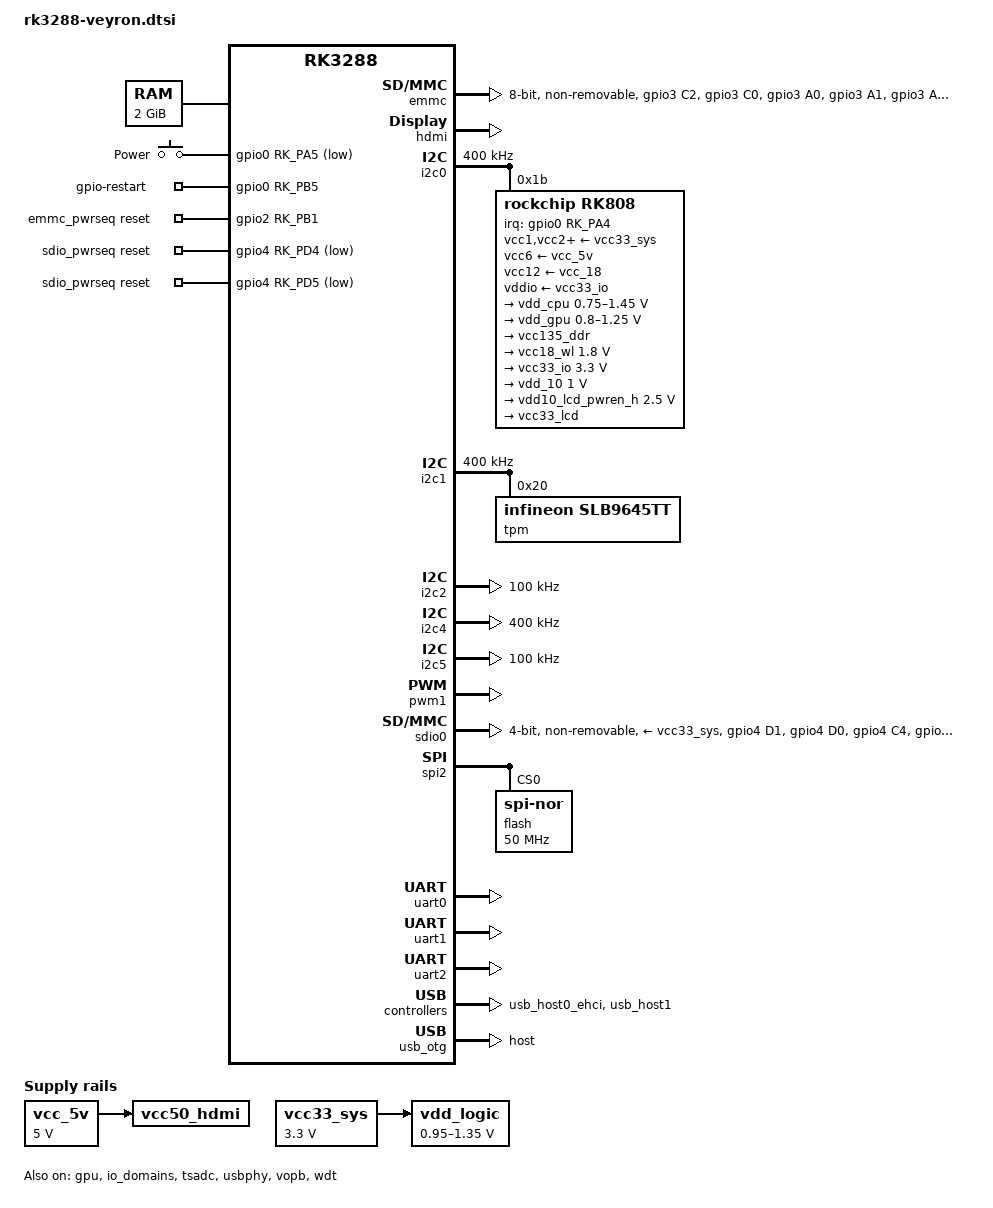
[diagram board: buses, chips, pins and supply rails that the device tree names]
// SPDX-License-Identifier: (GPL-2.0+ OR MIT)
/*
 * Google Veyron (and derivatives) board device tree source
 *
 * Copyright 2015 Google, Inc
 */

#include <dt-bindings/clock/rockchip,rk808.h>
#include <dt-bindings/input/input.h>
#include "rk3288.dtsi"

/ {
	chosen {
		stdout-path = "serial2:115200n8";
	};

	/*
	 * The default coreboot on veyron devices ignores memory@0 nodes
	 * and would instead create another memory node.
	 */
	memory {
		device_type = "memory";
		reg = <0x0 0x0 0x0 0x80000000>;
	};

	gpio_keys: gpio-keys {
		compatible = "gpio-keys";

		pinctrl-names = "default";
		pinctrl-0 = <&pwr_key_l>;
		power {
			label = "Power";
			gpios = <&gpio0 RK_PA5 GPIO_ACTIVE_LOW>;
			linux,code = <KEY_POWER>;
			debounce-interval = <100>;
			wakeup-source;
		};
	};

	gpio-restart {
		compatible = "gpio-restart";
		gpios = <&gpio0 RK_PB5 GPIO_ACTIVE_HIGH>;
		pinctrl-names = "default";
		pinctrl-0 = <&ap_warm_reset_h>;
		priority = <200>;
	};

	emmc_pwrseq: emmc-pwrseq {
		compatible = "mmc-pwrseq-emmc";
		pinctrl-0 = <&emmc_reset>;
		pinctrl-names = "default";
		reset-gpios = <&gpio2 RK_PB1 GPIO_ACTIVE_HIGH>;
	};

	sdio_pwrseq: sdio-pwrseq {
		compatible = "mmc-pwrseq-simple";
		clocks = <&rk808 RK808_CLKOUT1>;
		clock-names = "ext_clock";
		pinctrl-names = "default";
		pinctrl-0 = <&bt_enable_l>, <&wifi_enable_h>;

		/*
		 * Depending on the actual card populated GPIO4 D4 and D5
		 * correspond to one of these signals on the module:
		 *
		 * D4:
		 * - SDIO_RESET_L_WL_REG_ON
		 * - PDN (power down when low)
		 *
		 * D5:
		 * - BT_I2S_WS_BT_RFDISABLE_L
		 * - No connect
		 */
		reset-gpios = <&gpio4 RK_PD4 GPIO_ACTIVE_LOW>,
			      <&gpio4 RK_PD5 GPIO_ACTIVE_LOW>;
	};

	vcc_5v: vcc-5v {
		compatible = "regulator-fixed";
		regulator-name = "vcc_5v";
		regulator-always-on;
		regulator-boot-on;
		regulator-min-microvolt = <5000000>;
		regulator-max-microvolt = <5000000>;
	};

	vcc33_sys: vcc33-sys {
		compatible = "regulator-fixed";
		regulator-name = "vcc33_sys";
		regulator-always-on;
		regulator-boot-on;
		regulator-min-microvolt = <3300000>;
		regulator-max-microvolt = <3300000>;
	};

	vcc50_hdmi: vcc50-hdmi {
		compatible = "regulator-fixed";
		regulator-name = "vcc50_hdmi";
		regulator-always-on;
		regulator-boot-on;
		vin-supply = <&vcc_5v>;
	};

	vdd_logic: vdd-logic {
		compatible = "pwm-regulator";
		regulator-name = "vdd_logic";

		pwms = <&pwm1 0 1994 0>;
		pwm-supply = <&vcc33_sys>;

		pwm-dutycycle-range = <0x7b 0>;
		pwm-dutycycle-unit = <0x94>;

		regulator-always-on;
		regulator-boot-on;
		regulator-min-microvolt = <950000>;
		regulator-max-microvolt = <1350000>;
		regulator-ramp-delay = <4000>;
	};
};

&cpu0 {
	cpu0-supply = <&vdd_cpu>;
};

/* rk3288-c used in Veyron Chrome-devices has slightly changed OPPs */
&cpu_opp_table {
	/delete-node/ opp-312000000;

	opp-1512000000 {
		opp-microvolt = <1250000>;
	};
	opp-1608000000 {
		opp-microvolt = <1300000>;
	};
	opp-1704000000 {
		opp-hz = /bits/ 64 <1704000000>;
		opp-microvolt = <1350000>;
	};
	opp-1800000000 {
		opp-hz = /bits/ 64 <1800000000>;
		opp-microvolt = <1400000>;
	};
};

&emmc {
	status = "okay";

	bus-width = <8>;
	cap-mmc-highspeed;
	rockchip,default-sample-phase = <158>;
	disable-wp;
	mmc-hs200-1_8v;
	mmc-pwrseq = <&emmc_pwrseq>;
	non-removable;
	pinctrl-names = "default";
	pinctrl-0 = <&emmc_clk &emmc_cmd &emmc_bus8>;
};

&gpu {
	mali-supply = <&vdd_gpu>;
	status = "okay";
};

&hdmi {
	ddc-i2c-bus = <&i2c5>;
	status = "okay";
};

&i2c0 {
	status = "okay";

	clock-frequency = <400000>;
	i2c-scl-falling-time-ns = <50>;		/* 2.5ns measured */
	i2c-scl-rising-time-ns = <100>;		/* 45ns measured */

	rk808: pmic@1b {
		compatible = "rockchip,rk808";
		reg = <0x1b>;
		clock-output-names = "xin32k", "wifibt_32kin";
		interrupt-parent = <&gpio0>;
		interrupts = <RK_PA4 IRQ_TYPE_LEVEL_LOW>;
		pinctrl-names = "default";
		pinctrl-0 = <&pmic_int_l>;
		rockchip,system-power-controller;
		wakeup-source;
		#clock-cells = <1>;

		vcc1-supply = <&vcc33_sys>;
		vcc2-supply = <&vcc33_sys>;
		vcc3-supply = <&vcc33_sys>;
		vcc4-supply = <&vcc33_sys>;
		vcc6-supply = <&vcc_5v>;
		vcc7-supply = <&vcc33_sys>;
		vcc8-supply = <&vcc33_sys>;
		vcc12-supply = <&vcc_18>;
		vddio-supply = <&vcc33_io>;

		regulators {
			vdd_cpu: DCDC_REG1 {
				regulator-name = "vdd_arm";
				regulator-always-on;
				regulator-boot-on;
				regulator-min-microvolt = <750000>;
				regulator-max-microvolt = <1450000>;
				regulator-ramp-delay = <6001>;
				regulator-state-mem {
					regulator-off-in-suspend;
				};
			};

			vdd_gpu: DCDC_REG2 {
				regulator-name = "vdd_gpu";
				regulator-always-on;
				regulator-boot-on;
				regulator-min-microvolt = <800000>;
				regulator-max-microvolt = <1250000>;
				regulator-ramp-delay = <6001>;
				regulator-state-mem {
					regulator-off-in-suspend;
				};
			};

			vcc135_ddr: DCDC_REG3 {
				regulator-name = "vcc135_ddr";
				regulator-always-on;
				regulator-boot-on;
				regulator-state-mem {
					regulator-on-in-suspend;
				};
			};

			/*
			 * vcc_18 has several aliases.  (vcc18_flashio and
			 * vcc18_wl).  We'll add those aliases here just to
			 * make it easier to follow the schematic.  The signals
			 * are actually hooked together and only separated for
			 * power measurement purposes).
			 */
			vcc18_wl: vcc18_flashio: vcc_18: DCDC_REG4 {
				regulator-name = "vcc_18";
				regulator-always-on;
				regulator-boot-on;
				regulator-min-microvolt = <1800000>;
				regulator-max-microvolt = <1800000>;
				regulator-state-mem {
					regulator-on-in-suspend;
					regulator-suspend-microvolt = <1800000>;
				};
			};

			/*
			 * Note that both vcc33_io and vcc33_pmuio are always
			 * powered together. To simplify the logic in the dts
			 * we just refer to vcc33_io every time something is
			 * powered from vcc33_pmuio. In fact, on later boards
			 * (such as danger) they're the same net.
			 */
			vcc33_io: LDO_REG1 {
				regulator-name = "vcc33_io";
				regulator-always-on;
				regulator-boot-on;
				regulator-min-microvolt = <3300000>;
				regulator-max-microvolt = <3300000>;
				regulator-state-mem {
					regulator-on-in-suspend;
					regulator-suspend-microvolt = <3300000>;
				};
			};

			vdd_10: LDO_REG3 {
				regulator-name = "vdd_10";
				regulator-always-on;
				regulator-boot-on;
				regulator-min-microvolt = <1000000>;
				regulator-max-microvolt = <1000000>;
				regulator-state-mem {
					regulator-on-in-suspend;
					regulator-suspend-microvolt = <1000000>;
				};
			};

			vdd10_lcd_pwren_h: LDO_REG7 {
				regulator-name = "vdd10_lcd_pwren_h";
				regulator-always-on;
				regulator-boot-on;
				regulator-min-microvolt = <2500000>;
				regulator-max-microvolt = <2500000>;
				regulator-state-mem {
					regulator-off-in-suspend;
				};
			};

			vcc33_lcd: SWITCH_REG1 {
				regulator-name = "vcc33_lcd";
				regulator-always-on;
				regulator-boot-on;
				regulator-state-mem {
					regulator-off-in-suspend;
				};
			};
		};
	};
};

&i2c1 {
	status = "okay";

	clock-frequency = <400000>;
	i2c-scl-falling-time-ns = <50>;		/* 2.5ns measured */
	i2c-scl-rising-time-ns = <100>;		/* 40ns measured */

	tpm: tpm@20 {
		compatible = "infineon,slb9645tt";
		reg = <0x20>;
		powered-while-suspended;
	};
};

&i2c2 {
	status = "okay";

	/* 100kHz since 4.7k resistors don't rise fast enough */
	clock-frequency = <100000>;
	i2c-scl-falling-time-ns = <50>;		/* 10ns measured */
	i2c-scl-rising-time-ns = <800>;		/* 600ns measured */
};

&i2c4 {
	status = "okay";

	clock-frequency = <400000>;
	i2c-scl-falling-time-ns = <50>;		/* 11ns measured */
	i2c-scl-rising-time-ns = <300>;		/* 225ns measured */
};

&i2c5 {
	status = "okay";

	clock-frequency = <100000>;
	i2c-scl-falling-time-ns = <300>;
	i2c-scl-rising-time-ns = <1000>;
};

&io_domains {
	status = "okay";

	bb-supply = <&vcc33_io>;
	dvp-supply = <&vcc_18>;
	flash0-supply = <&vcc18_flashio>;
	gpio1830-supply = <&vcc33_io>;
	gpio30-supply = <&vcc33_io>;
	lcdc-supply = <&vcc33_lcd>;
	wifi-supply = <&vcc18_wl>;
};

&pwm1 {
	status = "okay";
};

&sdio0 {
	status = "okay";

	bus-width = <4>;
	cap-sd-highspeed;
	cap-sdio-irq;
	keep-power-in-suspend;
	mmc-pwrseq = <&sdio_pwrseq>;
	non-removable;
	pinctrl-names = "default";
	pinctrl-0 = <&sdio0_clk &sdio0_cmd &sdio0_bus4>;
	sd-uhs-sdr12;
	sd-uhs-sdr25;
	sd-uhs-sdr50;
	sd-uhs-sdr104;
	vmmc-supply = <&vcc33_sys>;
	vqmmc-supply = <&vcc18_wl>;
};

&spi2 {
	status = "okay";

	rx-sample-delay-ns = <12>;

	flash@0 {
		compatible = "jedec,spi-nor";
		spi-max-frequency = <50000000>;
		reg = <0>;
	};
};

&tsadc {
	status = "okay";

	rockchip,hw-tshut-mode = <1>; /* tshut mode 0:CRU 1:GPIO */
	rockchip,hw-tshut-polarity = <1>; /* tshut polarity 0:LOW 1:HIGH */
};

&uart0 {
	status = "okay";

	/* Pins don't include flow control by default; add that in */
	pinctrl-names = "default";
	pinctrl-0 = <&uart0_xfer &uart0_cts &uart0_rts>;
};

&uart1 {
	status = "okay";
};

&uart2 {
	status = "okay";
};

&usbphy {
	status = "okay";
};

&usb_host0_ehci {
	status = "okay";

	needs-reset-on-resume;
};

&usb_host1 {
	status = "okay";
};

&usb_otg {
	status = "okay";

	assigned-clocks = <&cru SCLK_USBPHY480M_SRC>;
	assigned-clock-parents = <&usbphy0>;
	dr_mode = "host";
};

&vopb {
	status = "okay";
};

&vopb_mmu {
	status = "okay";
};

&wdt {
	status = "okay";
};

&pinctrl {
	pinctrl-names = "default", "sleep";
	pinctrl-0 = <
		/* Common for sleep and wake, but no owners */
		&ddr0_retention
		&ddrio_pwroff
		&global_pwroff
	>;
	pinctrl-1 = <
		/* Common for sleep and wake, but no owners */
		&ddr0_retention
		&ddrio_pwroff
		&global_pwroff
	>;

	pcfg_pull_none_drv_8ma: pcfg-pull-none-drv-8ma {
		bias-disable;
		drive-strength = <8>;
	};

	pcfg_pull_up_drv_8ma: pcfg-pull-up-drv-8ma {
		bias-pull-up;
		drive-strength = <8>;
	};

	pcfg_output_high: pcfg-output-high {
		output-high;
	};

	pcfg_output_low: pcfg-output-low {
		output-low;
	};

	buttons {
		pwr_key_l: pwr-key-l {
			rockchip,pins = <0 RK_PA5 RK_FUNC_GPIO &pcfg_pull_up>;
		};
	};

	emmc {
		emmc_reset: emmc-reset {
			rockchip,pins = <2 RK_PB1 RK_FUNC_GPIO &pcfg_pull_none>;
		};

		/*
		 * We run eMMC at max speed; bump up drive strength.
		 * We also have external pulls, so disable the internal ones.
		 */
		emmc_clk: emmc-clk {
			rockchip,pins = <3 RK_PC2 2 &pcfg_pull_none_drv_8ma>;
		};

		emmc_cmd: emmc-cmd {
			rockchip,pins = <3 RK_PC0 2 &pcfg_pull_none_drv_8ma>;
		};

		emmc_bus8: emmc-bus8 {
			rockchip,pins = <3 RK_PA0 2 &pcfg_pull_none_drv_8ma>,
					<3 RK_PA1 2 &pcfg_pull_none_drv_8ma>,
					<3 RK_PA2 2 &pcfg_pull_none_drv_8ma>,
					<3 RK_PA3 2 &pcfg_pull_none_drv_8ma>,
					<3 RK_PA4 2 &pcfg_pull_none_drv_8ma>,
					<3 RK_PA5 2 &pcfg_pull_none_drv_8ma>,
					<3 RK_PA6 2 &pcfg_pull_none_drv_8ma>,
					<3 RK_PA7 2 &pcfg_pull_none_drv_8ma>;
		};
	};

	pmic {
		pmic_int_l: pmic-int-l {
			rockchip,pins = <0 RK_PA4 RK_FUNC_GPIO &pcfg_pull_up>;
		};
	};

	reboot {
		ap_warm_reset_h: ap-warm-reset-h {
			rockchip,pins = <0 RK_PB5 RK_FUNC_GPIO &pcfg_pull_none>;
		};
	};

	recovery-switch {
		rec_mode_l: rec-mode-l {
			rockchip,pins = <0 RK_PB1 RK_FUNC_GPIO &pcfg_pull_up>;
		};
	};

	sdio0 {
		wifi_enable_h: wifienable-h {
			rockchip,pins = <4 RK_PD4 RK_FUNC_GPIO &pcfg_pull_none>;
		};

		/* NOTE: mislabelled on schematic; should be bt_enable_h */
		bt_enable_l: bt-enable-l {
			rockchip,pins = <4 RK_PD5 RK_FUNC_GPIO &pcfg_pull_none>;
		};

		/*
		 * We run sdio0 at max speed; bump up drive strength.
		 * We also have external pulls, so disable the internal ones.
		 */
		sdio0_bus4: sdio0-bus4 {
			rockchip,pins = <4 RK_PC4 1 &pcfg_pull_none_drv_8ma>,
					<4 RK_PC5 1 &pcfg_pull_none_drv_8ma>,
					<4 RK_PC6 1 &pcfg_pull_none_drv_8ma>,
					<4 RK_PC7 1 &pcfg_pull_none_drv_8ma>;
		};

		sdio0_cmd: sdio0-cmd {
			rockchip,pins = <4 RK_PD0 1 &pcfg_pull_none_drv_8ma>;
		};

		sdio0_clk: sdio0-clk {
			rockchip,pins = <4 RK_PD1 1 &pcfg_pull_none_drv_8ma>;
		};
	};

	tpm {
		tpm_int_h: tpm-int-h {
			rockchip,pins = <7 RK_PA4 RK_FUNC_GPIO &pcfg_pull_none>;
		};
	};

	write-protect {
		fw_wp_ap: fw-wp-ap {
			rockchip,pins = <7 RK_PA6 RK_FUNC_GPIO &pcfg_pull_none>;
		};
	};
};
